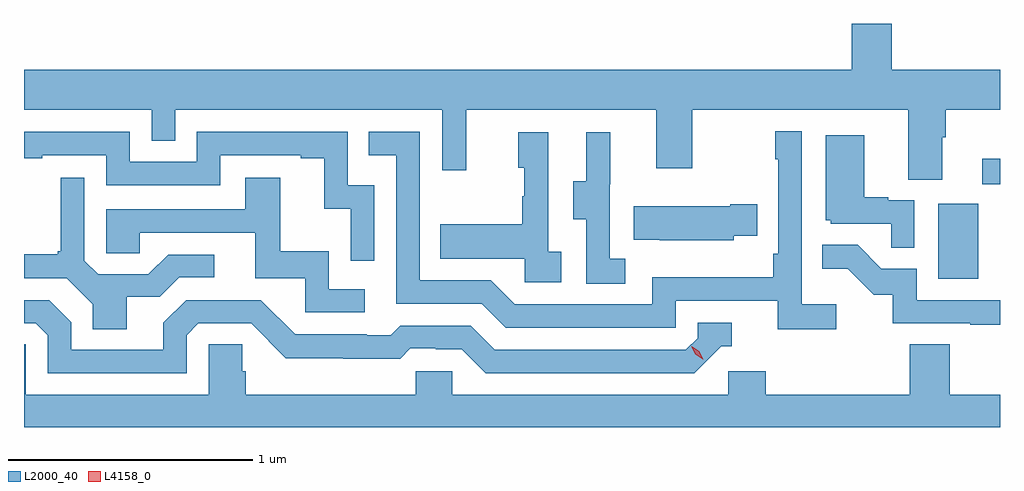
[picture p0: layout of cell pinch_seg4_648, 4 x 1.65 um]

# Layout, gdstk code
import gdstk
lib = gdstk.Library(unit=1e-6, precision=1e-09)
def R(c, l, rs):  # rectangles x0, y0, x1, y1
    for r in rs: c.add(gdstk.rectangle(r[:2], r[2:], *l))
def P(c, l, *ps):  # polygons
    for p in ps: c.add(gdstk.Polygon(p, *l))
L2000_40 = (2000, 40)
L4158_0 = (4158, 0)

pinch_seg4_648 = lib.new_cell('pinch_seg4_648')
R(pinch_seg4_648, L2000_40, [(1040.486,749.508,1040.65,749.815), (1040.667,749.895,1040.739,750.001)])
P(pinch_seg4_648, L2000_40, [(1036.739,750.2),(1037.262,750.2),(1037.262,750.073),(1037.358,750.073),(1037.358,750.2),(1038.453,750.2),(1038.453,749.952),(1038.551,749.952),(1038.551,750.2),(1039.331,750.2),(1039.331,749.961),(1039.478,749.961),(1039.478,750.2),(1040.363,750.2),(1040.363,749.914),(1040.503,749.914),(1040.503,750.088),(1040.516,750.088),(1040.516,750.2),(1040.739,750.2),(1040.739,750.364),(1040.296,750.364),(1040.296,750.553),(1040.132,750.553),(1040.132,750.364),(1036.739,750.364)],
  [(1040.068,749.404),(1039.926,749.404),(1039.926,750.112),(1039.818,750.112),(1039.818,749.999),(1039.83,749.999),(1039.83,749.611),(1039.81,749.611),(1039.81,749.515),(1039.314,749.515),(1039.314,749.403),(1038.75,749.403),(1038.651,749.502),(1038.36,749.502),(1038.36,750.111),(1038.151,750.111),(1038.151,750.015),(1038.264,750.015),(1038.264,749.406),(1038.614,749.406),(1038.713,749.307),(1039.41,749.307),(1039.41,749.418),(1039.829,749.418),(1039.829,749.302),(1040.068,749.302)],
  [(1038.174,749.892),(1038.066,749.892),(1038.066,750.111),(1037.448,750.111),(1037.448,749.988),(1037.172,749.988),(1037.172,750.111),(1036.739,750.111),(1036.739,750.003),(1036.813,750.003),(1036.813,750.015),(1037.076,750.015),(1037.076,749.892),(1037.544,749.892),(1037.544,750.015),(1037.873,750.015),(1037.873,750.003),(1037.969,750.003),(1037.969,749.795),(1038.078,749.795),(1038.078,749.583),(1038.174,749.583)],
  [(1038.94,749.618),(1038.888,749.618),(1038.888,750.109),(1038.764,750.109),(1038.764,749.964),(1038.79,749.964),(1038.79,749.846),(1038.78,749.846),(1038.78,749.731),(1038.445,749.731),(1038.445,749.591),(1038.792,749.591),(1038.792,749.493),(1038.94,749.493)],
  [(1039.204,749.591),(1039.14,749.591),(1039.14,749.895),(1039.142,749.895),(1039.142,750.109),(1039.043,750.109),(1039.043,749.907),(1038.989,749.907),(1038.989,749.752),(1039.044,749.752),(1039.044,749.488),(1039.204,749.488)],
  [(1040.388,749.829),(1040.282,749.829),(1040.282,749.842),(1040.182,749.842),(1040.182,750.097),(1040.024,750.097),(1040.024,749.748),(1040.046,749.748),(1040.046,749.733),(1040.293,749.733),(1040.293,749.635),(1040.388,749.635)],
  [(1038.136,749.466),(1037.988,749.466),(1037.988,749.62),(1037.789,749.62),(1037.789,749.923),(1037.645,749.923),(1037.645,749.793),(1037.076,749.793),(1037.076,749.613),(1037.213,749.613),(1037.213,749.697),(1037.687,749.697),(1037.687,749.511),(1037.892,749.511),(1037.892,749.37),(1038.136,749.37)],
  [(1037.161,749.434),(1037.296,749.434),(1037.376,749.514),(1037.518,749.514),(1037.518,749.607),(1037.33,749.607),(1037.249,749.526),(1037.043,749.526),(1036.986,749.583),(1036.986,749.923),(1036.889,749.923),(1036.889,749.62),(1036.878,749.62),(1036.878,749.608),(1036.739,749.608),(1036.739,749.511),(1036.914,749.511),(1037.021,749.404),(1037.021,749.302),(1037.161,749.302)],
  [(1039.647,749.684),(1039.745,749.684),(1039.745,749.814),(1039.634,749.814),(1039.634,749.806),(1039.237,749.806),(1039.237,749.669),(1039.345,749.669),(1039.345,749.666),(1039.647,749.666)],
  [(1040.739,749.421),(1040.397,749.421),(1040.397,749.55),(1040.253,749.55),(1040.155,749.648),(1040.011,749.648),(1040.011,749.549),(1040.115,749.549),(1040.222,749.442),(1040.299,749.442),(1040.299,749.325),(1040.617,749.325),(1040.617,749.32),(1040.739,749.32)],
  [(1037.406,749.277),(1037.454,749.325),(1037.67,749.325),(1037.812,749.183),(1038.048,749.183),(1038.048,749.181),(1038.281,749.181),(1038.323,749.223),(1038.426,749.223),(1038.426,749.22),(1038.533,749.22),(1038.632,749.121),(1039.485,749.121),(1039.596,749.232),(1039.639,749.232),(1039.639,749.328),(1039.5,749.328),(1039.5,749.265),(1039.452,749.217),(1038.669,749.217),(1038.57,749.316),(1038.281,749.316),(1038.242,749.277),(1038.143,749.277),(1038.143,749.28),(1037.85,749.28),(1037.709,749.421),(1037.403,749.421),(1037.309,749.327),(1037.309,749.217),(1036.932,749.217),(1036.932,749.331),(1036.842,749.421),(1036.739,749.421),(1036.739,749.325),(1036.788,749.325),(1036.836,749.277),(1036.836,749.121),(1037.406,749.121)],
  [(1040.739,749.032),(1040.534,749.032),(1040.534,749.24),(1040.369,749.24),(1040.369,749.032),(1039.778,749.032),(1039.778,749.13),(1039.626,749.13),(1039.626,749.032),(1038.495,749.032),(1038.495,749.13),(1038.345,749.13),(1038.345,749.032),(1037.648,749.032),(1037.648,749.13),(1037.633,749.13),(1037.633,749.24),(1037.496,749.24),(1037.496,749.032),(1036.746,749.032),(1036.746,749.24),(1036.739,749.24),(1036.739,748.9),(1040.739,748.9)])
P(pinch_seg4_648, L4158_0, [(1039.521,749.178),(1039.491,749.198),(1039.476,749.23),(1039.476,749.231),(1039.476,749.231),(1039.506,749.211),(1039.522,749.178),(1039.522,749.178)])

lib.write_gds('pinch_seg4_648.gds')
